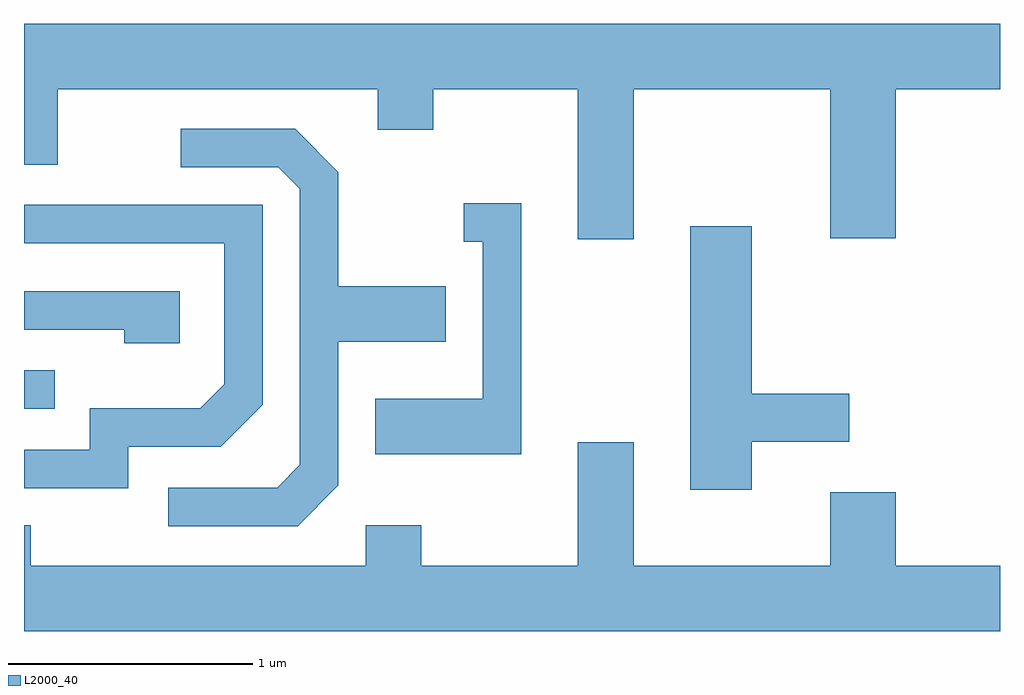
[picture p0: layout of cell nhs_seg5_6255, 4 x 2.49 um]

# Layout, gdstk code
import gdstk
lib = gdstk.Library(unit=1e-6, precision=1e-09)
def R(c, l, rs):  # rectangles x0, y0, x1, y1
    for r in rs: c.add(gdstk.rectangle(r[:2], r[2:], *l))
def P(c, l, *ps):  # polygons
    for p in ps: c.add(gdstk.Polygon(p, *l))
L2000_40 = (2000, 40)

nhs_seg5_6255 = lib.new_cell('nhs_seg5_6255')
R(nhs_seg5_6255, L2000_40, [(371.611,1402.206,371.738,1402.364)])
P(nhs_seg5_6255, L2000_40, [(374.109,1403.516),(374.916,1403.516),(374.916,1402.906),(375.184,1402.906),(375.184,1403.516),(375.611,1403.516),(375.611,1403.784),(371.611,1403.784),(371.611,1403.206),(371.749,1403.206),(371.749,1403.516),(373.061,1403.516),(373.061,1403.351),(373.289,1403.351),(373.289,1403.516),(373.881,1403.516),(373.881,1402.901),(374.109,1402.901)],
  [(372.899,1401.894),(372.899,1402.481),(373.339,1402.481),(373.339,1402.709),(372.899,1402.709),(372.899,1403.177),(372.722,1403.354),(372.253,1403.354),(372.253,1403.196),(372.654,1403.196),(372.741,1403.109),(372.741,1401.977),(372.649,1401.884),(372.203,1401.884),(372.203,1401.726),(372.732,1401.726)],
  [(373.649,1403.049),(373.413,1403.049),(373.413,1402.891),(373.491,1402.891),(373.491,1402.249),(373.051,1402.249),(373.051,1402.021),(373.649,1402.021)],
  [(372.039,1402.051),(372.417,1402.051),(372.589,1402.224),(372.589,1403.044),(371.611,1403.044),(371.611,1402.886),(372.431,1402.886),(372.431,1402.307),(372.334,1402.209),(371.881,1402.209),(371.881,1402.039),(371.611,1402.039),(371.611,1401.881),(372.039,1401.881)],
  [(374.594,1402.071),(374.994,1402.071),(374.994,1402.269),(374.594,1402.269),(374.594,1402.954),(374.341,1402.954),(374.341,1401.876),(374.594,1401.876)],
  [(372.249,1402.689),(371.611,1402.689),(371.611,1402.531),(372.021,1402.531),(372.021,1402.476),(372.249,1402.476)],
  [(375.611,1401.564),(375.184,1401.564),(375.184,1401.864),(374.916,1401.864),(374.916,1401.564),(374.109,1401.564),(374.109,1402.069),(373.881,1402.069),(373.881,1401.564),(373.239,1401.564),(373.239,1401.729),(373.011,1401.729),(373.011,1401.564),(371.639,1401.564),(371.639,1401.729),(371.611,1401.729),(371.611,1401.296),(375.611,1401.296)])

lib.write_gds('nhs_seg5_6255.gds')
